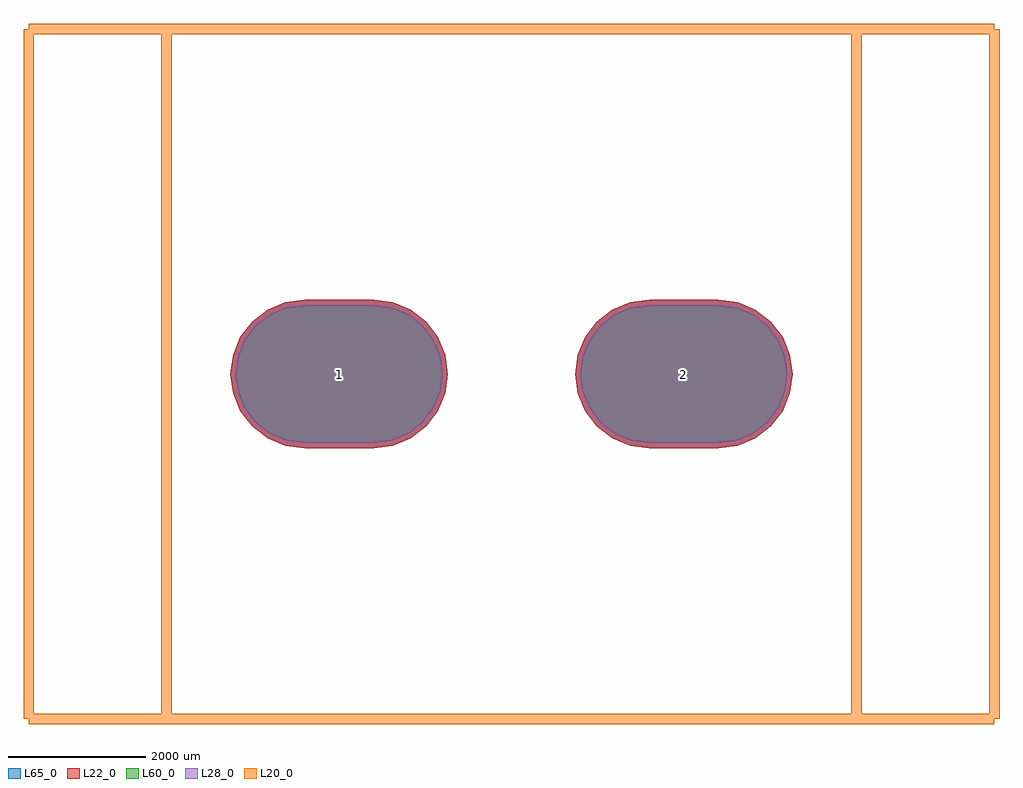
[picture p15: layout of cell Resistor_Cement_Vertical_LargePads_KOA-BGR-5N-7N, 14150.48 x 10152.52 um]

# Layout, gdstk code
import gdstk
lib = gdstk.Library(unit=1e-6, precision=1e-09)
def P(c, l, *ps):  # polygons
    for p in ps: c.add(gdstk.Polygon(p, *l))
L20_0 = (20, 0)
L22_0 = (22, 0)
L28_0 = (28, 0)
L60_0 = (60, 0)
L65_0 = (65, 0)

resistor_cement_vertical = lib.new_cell('Resistor_Cement_Vertical_LargePads_KOA-BGR-5N-7N')
P(resistor_cement_vertical, L22_0, [(1998.98,-1074.49),(2999.74,-1074.49),(3277.838,-1037.878),(3536.985,-930.536),(3759.519,-759.779),(3930.276,-537.245),(4037.618,-278.098),(4074.23,0),(4037.618,278.098),(3930.276,537.245),(3759.519,759.779),(3536.985,930.536),(3277.838,1037.878),(2999.74,1074.49),(1998.98,1074.49),(1720.882,1037.878),(1461.735,930.536),(1239.201,759.779),(1068.444,537.245),(961.102,278.098),(924.49,0),(961.102,-278.098),(1068.444,-537.245),(1239.201,-759.779),(1461.735,-930.536),(1720.882,-1037.878)],
  [(-2999.74,-1074.49),(-1998.98,-1074.49),(-1720.882,-1037.878),(-1461.735,-930.536),(-1239.201,-759.779),(-1068.444,-537.245),(-961.102,-278.098),(-924.49,0),(-961.102,278.098),(-1068.444,537.245),(-1239.201,759.779),(-1461.735,930.536),(-1720.882,1037.878),(-1998.98,1074.49),(-2999.74,1074.49),(-3277.838,1037.878),(-3536.985,930.536),(-3759.519,759.779),(-3930.276,537.245),(-4037.618,278.098),(-4074.23,0),(-4037.618,-278.098),(-3930.276,-537.245),(-3759.519,-759.779),(-3536.985,-930.536),(-3277.838,-1037.878)])
P(resistor_cement_vertical, L28_0, [(1998.98,-999.49),(2999.74,-999.49),(3258.427,-965.433),(3499.485,-865.584),(3706.486,-706.746),(3865.324,-499.745),(3965.173,-258.687),(3999.23,0),(3965.173,258.687),(3865.324,499.745),(3706.486,706.746),(3499.485,865.584),(3258.427,965.433),(2999.74,999.49),(1998.98,999.49),(1740.293,965.433),(1499.235,865.584),(1292.234,706.746),(1133.396,499.745),(1033.547,258.687),(999.49,0),(1033.547,-258.687),(1133.396,-499.745),(1292.234,-706.746),(1499.235,-865.584),(1740.293,-965.433)],
  [(-2999.74,-999.49),(-1998.98,-999.49),(-1740.293,-965.433),(-1499.235,-865.584),(-1292.234,-706.746),(-1133.396,-499.745),(-1033.547,-258.687),(-999.49,0),(-1033.547,258.687),(-1133.396,499.745),(-1292.234,706.746),(-1499.235,865.584),(-1740.293,965.433),(-1998.98,999.49),(-2999.74,999.49),(-3258.427,965.433),(-3499.485,865.584),(-3706.486,706.746),(-3865.324,499.745),(-3965.173,258.687),(-3999.23,0),(-3965.173,-258.687),(-3865.324,-499.745),(-3706.486,-706.746),(-3499.485,-865.584),(-3258.427,-965.433)])
P(resistor_cement_vertical, L60_0, [(1998.98,-999.49),(2999.74,-999.49),(3258.427,-965.433),(3499.485,-865.584),(3706.486,-706.746),(3865.324,-499.745),(3965.173,-258.687),(3999.23,0),(3965.173,258.687),(3865.324,499.745),(3706.486,706.746),(3499.485,865.584),(3258.427,965.433),(2999.74,999.49),(1998.98,999.49),(1740.293,965.433),(1499.235,865.584),(1292.234,706.746),(1133.396,499.745),(1033.547,258.687),(999.49,0),(1033.547,-258.687),(1133.396,-499.745),(1292.234,-706.746),(1499.235,-865.584),(1740.293,-965.433)],
  [(-2999.74,-999.49),(-1998.98,-999.49),(-1740.293,-965.433),(-1499.235,-865.584),(-1292.234,-706.746),(-1133.396,-499.745),(-1033.547,-258.687),(-999.49,0),(-1033.547,258.687),(-1133.396,499.745),(-1292.234,706.746),(-1499.235,865.584),(-1740.293,965.433),(-1998.98,999.49),(-2999.74,999.49),(-3258.427,965.433),(-3499.485,865.584),(-3706.486,706.746),(-3865.324,499.745),(-3965.173,258.687),(-3999.23,0),(-3965.173,-258.687),(-3865.324,-499.745),(-3706.486,-706.746),(-3499.485,-865.584),(-3258.427,-965.433)])
P(resistor_cement_vertical, L65_0, [(1998.98,-1074.49),(2999.74,-1074.49),(3277.838,-1037.878),(3536.985,-930.536),(3759.519,-759.779),(3930.276,-537.245),(4037.618,-278.098),(4074.23,0),(4037.618,278.098),(3930.276,537.245),(3759.519,759.779),(3536.985,930.536),(3277.838,1037.878),(2999.74,1074.49),(1998.98,1074.49),(1720.882,1037.878),(1461.735,930.536),(1239.201,759.779),(1068.444,537.245),(961.102,278.098),(924.49,0),(961.102,-278.098),(1068.444,-537.245),(1239.201,-759.779),(1461.735,-930.536),(1720.882,-1037.878)],
  [(-2999.74,-1074.49),(-1998.98,-1074.49),(-1720.882,-1037.878),(-1461.735,-930.536),(-1239.201,-759.779),(-1068.444,-537.245),(-961.102,-278.098),(-924.49,0),(-961.102,278.098),(-1068.444,537.245),(-1239.201,759.779),(-1461.735,930.536),(-1720.882,1037.878),(-1998.98,1074.49),(-2999.74,1074.49),(-3277.838,1037.878),(-3536.985,930.536),(-3759.519,759.779),(-3930.276,537.245),(-4037.618,278.098),(-4074.23,0),(-4037.618,-278.098),(-3930.276,-537.245),(-3759.519,-759.779),(-3536.985,-930.536),(-3277.838,-1037.878)])
resistor_cement_vertical.add(gdstk.FlexPath([(7000.24,-5001.26),(7000.24,5001.26)], 149.998, ends="flush", simple_path=True, layer=20, datatype=0))  # L20_0
resistor_cement_vertical.add(gdstk.FlexPath([(-7000.24,-5001.26),(7000.24,-5001.26)], 149.998, ends="flush", simple_path=True, layer=20, datatype=0))  # L20_0
resistor_cement_vertical.add(gdstk.FlexPath([(-7000.24,5001.26),(-7000.24,-5001.26)], 149.998, ends="flush", simple_path=True, layer=20, datatype=0))  # L20_0
resistor_cement_vertical.add(gdstk.FlexPath([(7000.24,5001.26),(-7000.24,5001.26)], 149.998, ends="flush", simple_path=True, layer=20, datatype=0))  # L20_0
resistor_cement_vertical.add(gdstk.FlexPath([(5001.26,5001.26),(5001.26,-5001.26)], 149.998, ends="flush", simple_path=True, layer=20, datatype=0))  # L20_0
resistor_cement_vertical.add(gdstk.FlexPath([(-5001.26,5001.26),(-5001.26,-5001.26)], 149.998, ends="flush", simple_path=True, layer=20, datatype=0))  # L20_0
resistor_cement_vertical.add(gdstk.Label('2', (2499.36,0), layer=28, texttype=0))
resistor_cement_vertical.add(gdstk.Label('1', (-2499.36,0), layer=28, texttype=0))
resistor_cement_vertical.add(gdstk.Label('type', (0,-8498.84), layer=9, texttype=0))
resistor_cement_vertical.add(gdstk.Label('devicename', (0,7000.24), layer=9, texttype=0))

lib.write_gds('Resistor_Cement_Vertical_LargePads_KOA-BGR-5N-7N.gds')
